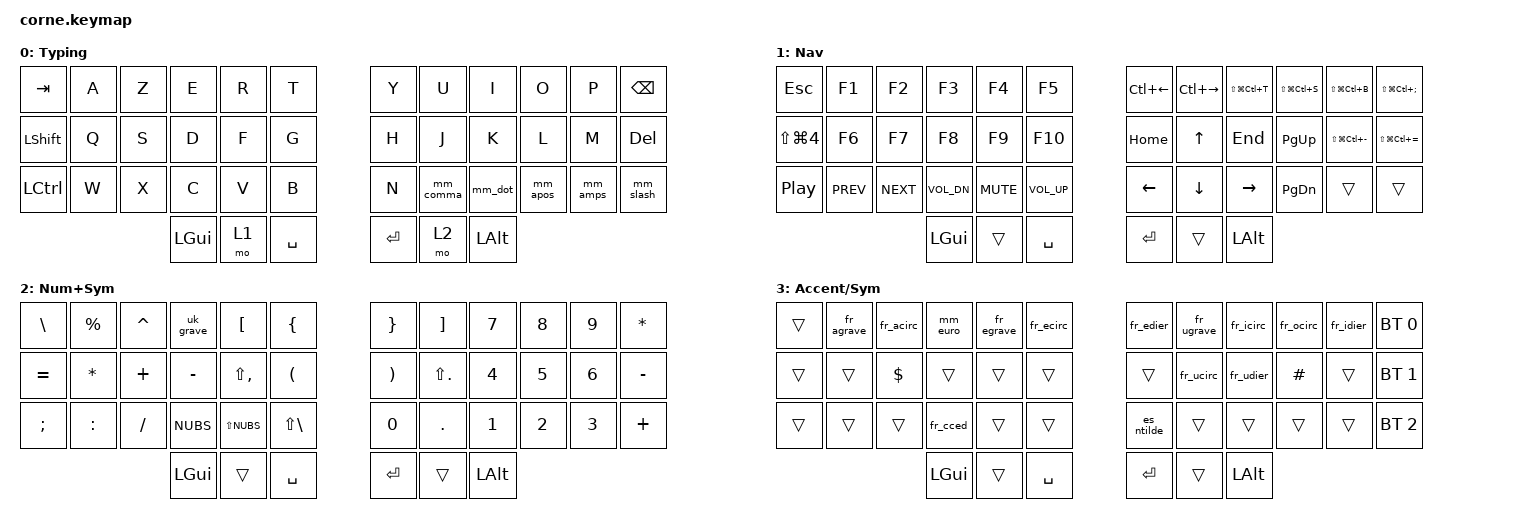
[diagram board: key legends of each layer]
/*
 * Corne (crkbd) - ZMK - stealth AZERTY letters on a UK host, custom punctuation
 *
 * Layers:
 *   0 Typing     - AZERTY letters (UK host types them unchanged)
 *   1 Nav        - hold LEFT middle thumb  (&mo 1)
 *   2 Num+Sym    - hold RIGHT middle thumb (&mo 2)
 *   3 Accent/Sym - hold BOTH thumbs (conditional layer)
 *                  rightmost column, top->bottom = Bluetooth slots 0, 1, 2
 *
 * Rules:
 *   - Bspc/Del live ONLY on the Typing layer.
 *   - Punctuation keys carry their shifted partner via mod-morphs (,->? .->! '->" &->@ /->|).
 *   - Accents cluster around their base letter; symbols sit on a mnemonic letter key.
 */

#include <behaviors.dtsi>
#include <dt-bindings/zmk/keys.h>
#include <dt-bindings/zmk/bt.h>

/ {
        behaviors {
                mm_comma: mm_comma {   // , / ?
                        compatible = "zmk,behavior-mod-morph";
                        #binding-cells = <0>;
                        bindings = <&kp COMMA>, <&kp QMARK>;
                        mods = <(MOD_LSFT|MOD_RSFT)>;
                };
                mm_dot: mm_dot {       // . / !
                        compatible = "zmk,behavior-mod-morph";
                        #binding-cells = <0>;
                        bindings = <&kp DOT>, <&kp EXCL>;
                        mods = <(MOD_LSFT|MOD_RSFT)>;
                };
                mm_apos: mm_apos {     // ' / "
                        compatible = "zmk,behavior-mod-morph";
                        #binding-cells = <0>;
                        bindings = <&kp SQT>, <&kp AT>;
                        mods = <(MOD_LSFT|MOD_RSFT)>;
                };
                mm_amps: mm_amps {     // & / @
                        compatible = "zmk,behavior-mod-morph";
                        #binding-cells = <0>;
                        bindings = <&kp AMPS>, <&kp LS(SQT)>;
                        mods = <(MOD_LSFT|MOD_RSFT)>;
                };
                mm_slash: mm_slash {   // / / |
                        compatible = "zmk,behavior-mod-morph";
                        #binding-cells = <0>;
                        bindings = <&kp FSLH>, <&kp LS(NUBS)>;
                        mods = <(MOD_LSFT|MOD_RSFT)>;
                };
                mm_euro: mm_euro {     // é / €
                        compatible = "zmk,behavior-mod-morph";
                        #binding-cells = <0>;
                        bindings = <&fr_eacute>, <&kp RA(N4)>;
                        mods = <(MOD_LSFT|MOD_RSFT)>;
                };
        };

        macros {
                uk_grave: uk_grave {
                        compatible = "zmk,behavior-macro";
                        #binding-cells = <0>;
                        bindings = <&kp GRAVE>, <&kp SPACE>;
                };
                fr_agrave: fr_agrave {
                        compatible = "zmk,behavior-macro";
                        #binding-cells = <0>;
                        bindings = <&kp GRAVE>, <&kp A>;      // à
                };
                fr_acirc: fr_acirc {
                        compatible = "zmk,behavior-macro";
                        #binding-cells = <0>;
                        bindings = <&kp RA(N6)>, <&kp A>;     // â
                };
                fr_eacute: fr_eacute {
                        compatible = "zmk,behavior-macro";
                        #binding-cells = <0>;
                        bindings = <&kp RA(E)>;               // é
                };
                fr_egrave: fr_egrave {
                        compatible = "zmk,behavior-macro";
                        #binding-cells = <0>;
                        bindings = <&kp GRAVE>, <&kp E>;      // è
                };
                fr_ecirc: fr_ecirc {
                        compatible = "zmk,behavior-macro";
                        #binding-cells = <0>;
                        bindings = <&kp RA(N6)>, <&kp E>;     // ê
                };
                fr_edier: fr_edier {
                        compatible = "zmk,behavior-macro";
                        #binding-cells = <0>;
                        bindings = <&kp RA(N2)>, <&kp E>;     // ë
                };
                fr_ugrave: fr_ugrave {
                        compatible = "zmk,behavior-macro";
                        #binding-cells = <0>;
                        bindings = <&kp GRAVE>, <&kp U>;      // ù
                };
                fr_ucirc: fr_ucirc {
                        compatible = "zmk,behavior-macro";
                        #binding-cells = <0>;
                        bindings = <&kp RA(N6)>, <&kp U>;     // û
                };
                fr_udier: fr_udier {
                        compatible = "zmk,behavior-macro";
                        #binding-cells = <0>;
                        bindings = <&kp RA(N2)>, <&kp U>;     // ü
                };
                fr_icirc: fr_icirc {
                        compatible = "zmk,behavior-macro";
                        #binding-cells = <0>;
                        bindings = <&kp RA(N6)>, <&kp I>;     // î
                };
                fr_idier: fr_idier {
                        compatible = "zmk,behavior-macro";
                        #binding-cells = <0>;
                        bindings = <&kp RA(N2)>, <&kp I>;     // ï
                };
                fr_ocirc: fr_ocirc {
                        compatible = "zmk,behavior-macro";
                        #binding-cells = <0>;
                        bindings = <&kp RA(N6)>, <&kp O>;     // ô
                };
                fr_cced: fr_cced {
                        compatible = "zmk,behavior-macro";
                        #binding-cells = <0>;
                        bindings = <&kp RA(C)>;               // ç
                };
                es_ntilde: es_ntilde {
                        compatible = "zmk,behavior-macro";
                        #binding-cells = <0>;
                        bindings = <&kp RA(BSLH)>, <&kp N>;   // ñ
                };
        };

        keymap {
                compatible = "zmk,keymap";

                default_layer {
                        display-name = "Typing";
                        bindings = <
   &kp TAB   &kp A &kp Z &kp E &kp R &kp T   &kp Y &kp U  &kp I     &kp O   &kp P    &kp BSPC
   &kp LSHFT &kp Q &kp S &kp D &kp F &kp G   &kp H &kp J  &kp K     &kp L &kp M      &kp DEL
   &kp LCTRL &kp W &kp X &kp C &kp V &kp B   &kp N &mm_comma &mm_dot &mm_apos &mm_amps &mm_slash
                  &kp LGUI &mo 1 &kp SPACE   &kp RET &mo 2 &kp LALT
                        >;
                };

                nav_layer {
                        display-name = "Nav";
// left: Esc + F1-F10 + Cmd-Shift-4 area screenshot (under Esc) + media
// right: Home/Up/End/PgUp over Left/Down/Right/PgDn, then window smaller/bigger
//        (hyper -/= on the same keys that are -/= on Num+Sym)
// top-right: app launchers (hyper = Cmd+Ctrl+Shift, matches Karabiner bindings)
                        bindings = <
   &kp ESC   &kp F1  &kp F2  &kp F3  &kp F4  &kp F5      &kp LC(LEFT) &kp LC(RIGHT) &kp LS(LG(LC(T))) &kp LS(LG(LC(S))) &kp LS(LG(LC(B))) &kp LS(LG(LC(SEMI)))
   &kp LS(LG(N4)) &kp F6  &kp F7  &kp F8  &kp F9  &kp F10     &kp HOME &kp UP  &kp END  &kp PG_UP &kp LS(LG(LC(MINUS))) &kp LS(LG(LC(EQUAL)))
   &kp C_PLAY_PAUSE &kp C_PREV &kp C_NEXT &kp C_VOL_DN &kp C_MUTE &kp C_VOL_UP   &kp LEFT &kp DOWN &kp RIGHT &kp PG_DN &trans &trans
                  &kp LGUI &trans &kp SPACE   &kp RET &trans &kp LALT
                        >;
                };

                numsym_layer {
                        display-name = "Num+Sym";
// left : symbols; twins {}/[] and ()/<> straddle the split (left inner <-> right inner)
// right: numpad shifted two columns right -> 7/4/1 at c8, 8/5/2 at c9, 9/6/3 at c10,
//        operators * - + down the far-right column, 0 . in the leftover inner cells
                        bindings = <
   &kp BSLH  &kp PRCNT    &kp CARET &uk_grave &kp LBKT     &kp LBRC   &kp RBRC &kp RBKT  &kp N7 &kp N8 &kp N9 &kp ASTRK
   &kp EQUAL &kp ASTRK    &kp PLUS  &kp MINUS &kp LS(COMMA) &kp LPAR   &kp RPAR &kp LS(DOT) &kp N4 &kp N5 &kp N6 &kp MINUS
   &kp SEMI  &kp COLON    &kp FSLH  &kp NUBS  &kp LS(NUBS) &kp LS(BSLH)   &kp N0 &kp DOT &kp N1 &kp N2 &kp N3 &kp PLUS
                  &kp LGUI &trans &kp SPACE   &kp RET &trans &kp LALT
                        >;
                };

                accent_layer {
                        display-name = "Accent/Sym";
                        bindings = <
   &trans &fr_agrave &fr_acirc &mm_euro   &fr_egrave &fr_ecirc   &fr_edier &fr_ugrave &fr_icirc &fr_ocirc &fr_idier &bt BT_SEL 0
   &trans &trans     &kp DLLR  &trans     &trans     &trans      &trans    &fr_ucirc  &fr_udier &kp HASH  &trans   &bt BT_SEL 1
   &trans &trans     &trans    &fr_cced   &trans     &trans      &es_ntilde &trans    &trans    &trans    &trans   &bt BT_SEL 2
                  &kp LGUI &trans &kp SPACE   &kp RET &trans &kp LALT
                        >;
                };
        };

        conditional_layers {
                compatible = "zmk,conditional-layers";
                accents {
                        if-layers = <1 2>;
                        then-layer = <3>;
                };
        };
};
